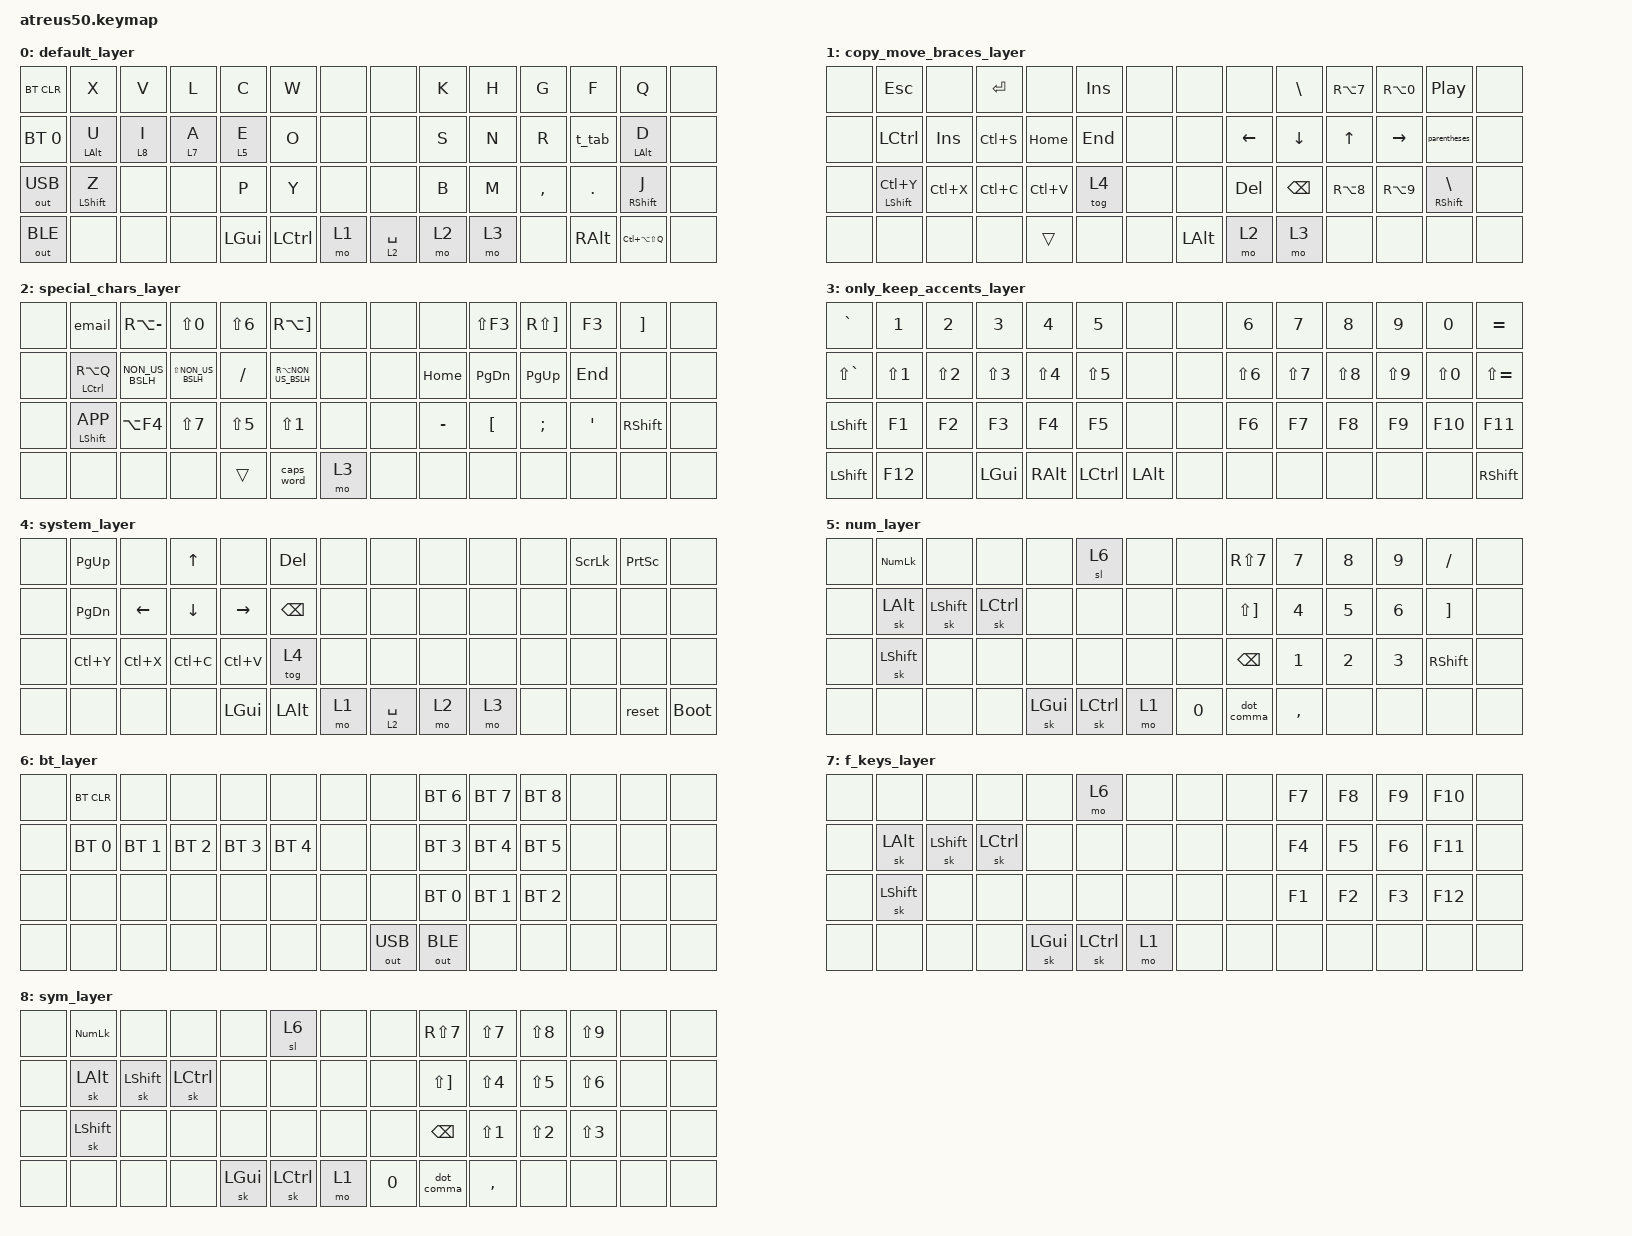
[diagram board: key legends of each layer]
/*
 * Copyright (c) 2020 The ZMK Contributors
 *
 * SPDX-License-Identifier: MIT
 */

#include <behaviors.dtsi>
#include <dt-bindings/zmk/keys.h>
#include <dt-bindings/zmk/bt.h>
#include <dt-bindings/zmk/outputs.h>
#include <dt-bindings/zmk/ext_power.h>

#define DEFAULT 0
#define L1 1
#define L2 2
#define L3 3  // NUMBERs, F1-12..
#define L4 4  // SPECIAL
#define L5 5  // NUMPAD
#define L6 6  // BL
#define L7 7  // F1-12...
#define L8 8  // SYM

&caps_word {
    continue-list = <UNDERSCORE MINUS MOD_LSFT MOD_RSFT>;
};

/ {
    macros {
        email: email {
            label = "email";
            compatible = "zmk,behavior-macro";
            wait-ms = <5>;
            tap-ms = <5>;
            #binding-cells = <0>;
            bindings = <&macro_tap /*SECRET_EMAIL*/ &kp E >;
        };
    };

    behaviors {
      hm: homerow_mods {
          compatible = "zmk,behavior-hold-tap";
          label = "HOMEROW_MODS";
          #binding-cells = <2>;
          tapping-term-ms = <200>;
          quick-tap-ms = <0>;
          flavor = "tap-preferred";
          bindings = <&kp>, <&kp>;
      };

      parentheses: parentheses {
          compatible = "zmk,behavior-mod-morph";
          label = "PARENTHESES";
          #binding-cells = <0>;
          bindings = <&kp LS(N8)>, <&kp LS(N9)>;
          mods = <(MOD_LSFT|MOD_LCTL|MOD_LALT)>;
      };

      t_tab: t_tab {
          compatible = "zmk,behavior-mod-morph";
          label = "t_tab";
          #binding-cells = <0>;
          bindings = <&kp T>, <&kp TAB>;
          mods = <(MOD_LALT)>;
      };

      // q_quest: q_quest {
      //     compatible = "zmk,behavior-mod-morph";
      //     label = "q_quest";
      //     #binding-cells = <0>;
      //     bindings = <&kp Q>, <&kp LS(MINUS)>;
      //     mods = <(MOD_LALT)>;
      // };

      dot_comma: dot_comma {
          compatible = "zmk,behavior-mod-morph";
          label = "dot_comma";
          #binding-cells = <0>;
          bindings = <&kp DOT>, <&kp COMMA>;
          mods = <(MOD_LALT|MOD_LSFT)>;
      };
    };
    
    keymap {
        compatible = "zmk,keymap";

    // DEFAULT
        default_layer {
            bindings = <
    &bt BT_CLR   &kp X       &kp V    &kp L    &kp C     &kp W     &none            &none        &kp K   &kp H   &kp G     &kp F    &kp Q             &none
    &bt BT_SEL 0 &hm LALT U  &lt L8 I &lt L7 A &lt L5 E  &kp O     &none            &none        &kp S   &kp N   &kp R     &t_tab   &hm LALT D        &none
    &out OUT_USB &hm LSHFT Z &none    &none    &kp P     &kp Y     &none            &none        &kp B   &kp M   &kp COMMA &kp DOT  &hm RSHFT J       &none
    &out OUT_BLE &none       &none    &none    &kp LGUI  &kp LCTRL &mo L1           &lt L2 SPACE &mo L2  &mo L3  &none     &kp RALT &kp LC(LA(LS(Q))) &none
            >;
        };

    // L1    
        copy_move_braces_layer {
          bindings = <
    &none &kp ESC         &none     &kp ENTER  &none      &kp INS  &none           &none    &none    &kp BSLH &kp RA(N7) &kp RA(N0) &kp C_PLAY_PAUSE &none
    &none &kp LCTRL       &kp INS   &kp LC(S)  &kp HOME   &kp END  &none           &none    &kp LEFT &kp DOWN &kp UP     &kp RIGHT  &parentheses     &none
    &none &hm LSHFT LC(Y) &kp LC(X) &kp LC(C)  &kp LC(V)  &tog L4  &none           &none    &kp DEL  &kp BSPC &kp RA(N8) &kp RA(N9) &hm RSHFT BSLH   &none
    &none &none           &none     &none      &trans     &none    &none           &kp LALT &mo L2   &mo L3   &none      &none      &none            &none
          >;
        };
    
    // L2
        special_chars_layer {
          bindings = <
    &none &email          &kp RA(MINUS)   &kp LS(N0)          &kp LS(N6) &kp RA(RBKT)        &none             &none  &none     &kp LS(F3) &kp RS(RBKT) &kp F3   &kp RBKT  &none
    &none &hm LCTRL RA(Q) &kp NON_US_BSLH &kp LS(NON_US_BSLH) &kp SLASH  &kp RA(NON_US_BSLH) &none             &none  &kp HOME  &kp PG_DN  &kp PG_UP    &kp END  &none     &none
    &none &hm LSHFT K_APP &kp LA(F4)      &kp LS(N7)          &kp LS(N5) &kp LS(N1)          &none             &none  &kp MINUS &kp LBKT   &kp SEMI     &kp APOS &kp RSHFT &none
    &none &none           &none           &none               &trans     &caps_word          &mo L3            &none  &none     &none      &none        &none    &none     &none
          >;
        };

    // L3
        only_keep_accents_layer {
          bindings = <
    &kp GRAVE      &kp N1      &kp N2      &kp N3      &kp N4      &kp N5      &none              &none  &kp N6      &kp N7      &kp N8      &kp N9      &kp N0      &kp EQUAL
    &kp LS(GRAVE)  &kp LS(N1)  &kp LS(N2)  &kp LS(N3)  &kp LS(N4)  &kp LS(N5)  &none              &none  &kp LS(N6)  &kp LS(N7)  &kp LS(N8)  &kp LS(N9)  &kp LS(N0)  &kp LS(EQUAL)
    &kp LSHFT      &kp F1      &kp F2      &kp F3      &kp F4      &kp F5      &none              &none  &kp F6      &kp F7      &kp F8      &kp F9      &kp F10     &kp F11
    &kp LSHFT      &kp F12     &none       &kp LGUI    &kp RALT    &kp LCTRL   &kp LALT           &none  &none       &none       &none       &none       &none       &kp RSHFT
          >;
        };
    
    // L4
        system_layer { // i mainly use this for &bootloader :/
          bindings = <
    &none &kp PG_UP &none     &kp UP    &none     &kp DEL  &none             &none      &none   &none   &none  &kp SCROLLLOCK &kp PSCRN &none
    &none &kp PG_DN &kp LEFT  &kp DOWN  &kp RIGHT &kp BSPC &none             &none      &none   &none   &none  &none          &none     &none
    &none &kp LC(Y) &kp LC(X) &kp LC(C) &kp LC(V) &tog L4  &none             &none      &none   &none   &none  &none          &none     &none
    &none &none     &none     &none     &kp LGUI  &kp LALT &mo L1            &lt L2 SPACE &mo L2 &mo L3 &none  &none          &reset    &bootloader
          >;
        };
    
    // L5, numpad and special chars 
        num_layer {
          bindings = <
    &none &kp KP_NUM &none     &none     &none     &sl L6    &none             &none  &kp RS(N7)   &kp N7    &kp N8  &kp N9  &kp SLASH &none
    &none &sk LALT   &sk LSHFT &sk LCTRL &none	   &none     &none             &none  &kp LS(RBKT) &kp N4    &kp N5  &kp N6  &kp RBKT  &none
    &none &sk LSHFT  &none     &none     &none     &none     &none             &none  &kp BSPC     &kp N1    &kp N2  &kp N3  &kp RSHFT &none
    &none &none      &none     &none     &sk LGUI  &sk LCTRL &mo L1            &kp N0 &dot_comma   &kp COMMA &none   &none   &none     &none
          >;
        };
    
    // L6, bluetooth
        bt_layer {
          bindings = <
    &none &bt BT_CLR   &none        &none        &none        &none        &none             &none   &bt BT_SEL 6 &bt BT_SEL 7 &bt BT_SEL 8 &none &none &none
    &none &bt BT_SEL 0 &bt BT_SEL 1 &bt BT_SEL 2 &bt BT_SEL 3 &bt BT_SEL 4 &none             &none   &bt BT_SEL 3 &bt BT_SEL 4 &bt BT_SEL 5 &none &none &none
    &none &none        &none        &none        &none        &none        &none             &none   &bt BT_SEL 0 &bt BT_SEL 1 &bt BT_SEL 2 &none &none &none
    &none &none        &none        &none        &none        &none        &none             &out OUT_USB &out OUT_BLE &none   &none        &none &none &none
          >;
        };

    // L7, f-keys    
        f_keys_layer {
          bindings = <
    &none &none     &none     &none     &none     &mo L6    &none             &none &none &kp F7 &kp F8 &kp F9 &kp F10 &none
    &none &sk LALT  &sk LSHFT &sk LCTRL &none     &none     &none             &none &none &kp F4 &kp F5 &kp F6 &kp F11 &none
    &none &sk LSHFT &none     &none     &none     &none     &none             &none &none &kp F1 &kp F2 &kp F3 &kp F12 &none
    &none &none     &none     &none     &sk LGUI  &sk LCTRL &mo L1            &none &none &none  &none  &none  &none   &none
          >;
        };
        
    // L8, numpad and special chars 
        sym_layer {
          bindings = <
    &none &kp KP_NUM &none     &none     &none     &sl L6    &none             &none  &kp RS(N7)   &kp LS(N7) &kp LS(N8) &kp LS(N9) &none &none
    &none &sk LALT   &sk LSHFT &sk LCTRL &none	   &none     &none             &none  &kp LS(RBKT) &kp LS(N4) &kp LS(N5) &kp LS(N6) &none &none
    &none &sk LSHFT  &none     &none     &none     &none     &none             &none  &kp BSPC     &kp LS(N1) &kp LS(N2) &kp LS(N3) &none &none
    &none &none      &none     &none     &sk LGUI  &sk LCTRL &mo L1            &kp N0 &dot_comma   &kp COMMA  &none      &none      &none &none
          >;
        };
    };
};
